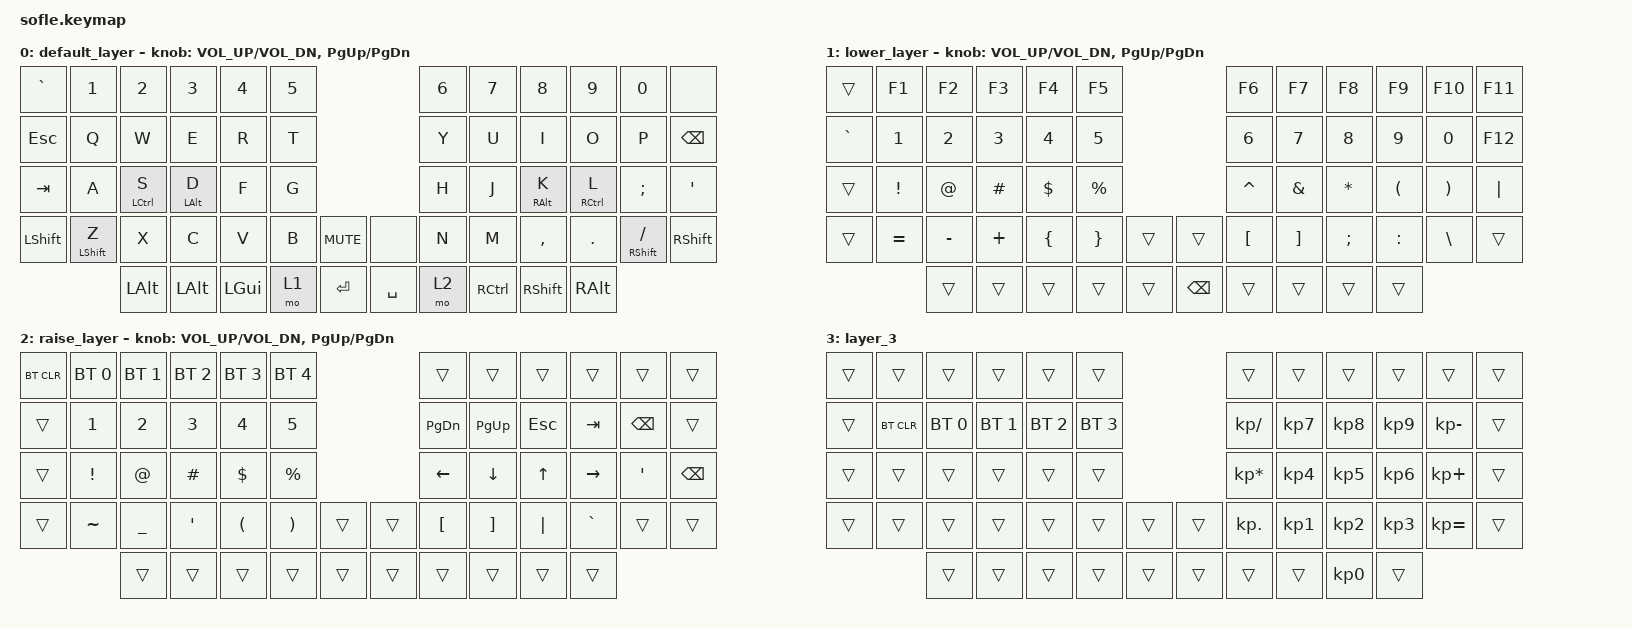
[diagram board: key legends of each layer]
/*
 * Copyright (c) 2020 The ZMK Contributors
 *
 * SPDX-License-Identifier: MIT
 */

#include <behaviors.dtsi>
#include <dt-bindings/zmk/bt.h>
#include <dt-bindings/zmk/keys.h>

/ {
    behaviors {
        hml: homewrow_mods_left {
            compatible = "zmk,behavior-hold-tap";
            label = "HOMEWROW_MODS_LEFT";
            bindings = <&kp>, <&kp>;

            #binding-cells = <2>;
            tapping-term-ms = <125>;
            hold-trigger-key-positions = <43 55 56 57 44 45 58 46 59 47 48 49 35 34 33 32 31 30 18 19 20 21 22 23 11 10 9 8 7 6>;
            flavor = "tap-preferred";
        };

        hmr: homewrow_mods_right {
            compatible = "zmk,behavior-hold-tap";
            label = "HOMEWROW_MODS_RIGHT";
            bindings = <&kp>, <&kp>;

            #binding-cells = <2>;
            tapping-term-ms = <125>;
            hold-trigger-key-positions = <0 1 2 14 12 24 25 26 27 15 3 4 16 28 29 17 5 42 54 53 52 41 40 39 38 51 50 37 36 0 1 2 3 4 5 12 14 15 16 17 24 25 26 27 28 29 36 37 38 39 40 41 42 50 51 52 53 54 0 1 12 14 24 25 26 0 1 2 3 4 5 12 13 14 15 16 17 24 25 26 27 28 29 36 37 38 39 40 41 42 50 51 52 53 54>;
            flavor = "tap-preferred";
        };
    };

    combos {
        compatible = "zmk,combos";

        cmd_shift_del {
            bindings = <&kp LG(LS(DELETE))>;
            key-positions = <53 37 22>;
            timeout-ms = <125>;
        };

        z_command {
            bindings = <&kp LS(LEFT_COMMAND)>;
            key-positions = <37 52>;
            layers = <0>;
        };

        z_question {
            bindings = <&kp QMARK>;
            key-positions = <37 48>;
            layers = <0>;
            timeout-ms = <125>;
        };

        z_enter {
            bindings = <&kp LS(ENTER)>;
            key-positions = <37 54>;
            layers = <0>;
            timeout-ms = <125>;
        };
    };

    keymap {
        compatible = "zmk,keymap";

        default_layer {
            // ------------------------------------------------------------------------------------------------------------
            // |  `    |  1  |  2  |  3   |  4   |  5   |                   |  6   |  7    |  8    |  9   |   0   |       |
            // |  ESC  |  Q  |  W  |  E   |  R   |  T   |                   |  Y   |  U    |  I    |  O   |   P   | BKSPC |
            // |  TAB  |  A  |  S  |  D   |  F   |  G   |                   |  H   |  J    |  K    |  L   |   ;   |   '   |
            // | SHIFT |  Z  |  X  |  C   |  V   |  B   |  MUTE  |  |       |  N   |  M    |  ,    |  .   |   /   | SHIFT |
            //               | GUI | ALT  | CTRL | LOWER|  ENTER |  | SPACE | RAISE| CTRL  | ALT   | GUI  |

            bindings = <
&kp GRAVE  &kp N1             &kp N2        &kp N3           &kp N4    &kp N5                           &kp N6  &kp N7     &kp N8            &kp N9        &kp N0                  &none
&kp ESC    &kp Q              &kp W         &kp E            &kp R     &kp T                            &kp Y   &kp U      &kp I             &kp O         &kp P                   &kp BSPC
&kp TAB    &kp A              &hml LCTRL S  &hml LEFT_ALT D  &kp F     &kp G                            &kp H   &kp J      &hmr RIGHT_ALT K  &hmr RCTRL L  &kp SEMICOLON           &kp SQT
&kp LSHFT  &hml LEFT_SHIFT Z  &kp X         &kp C            &kp V     &kp B   &kp C_MUTE    &none      &kp N   &kp M      &kp COMMA         &kp DOT       &hmr RIGHT_SHIFT SLASH  &kp RSHFT
                              &kp LEFT_ALT  &kp LALT         &kp LGUI  &mo 1   &kp RET       &kp SPACE  &mo 2   &kp RCTRL  &kp RSHFT         &kp RALT
            >;

            sensor-bindings = <&inc_dec_kp C_VOL_UP C_VOL_DN &inc_dec_kp PG_UP PG_DN>;
        };

        lower_layer {
            // TODO: Some binds are waiting for shifted keycode support.
            // ------------------------------------------------------------------------------------------------------------
            // |       |  F1 |  F2 |  F3  |  F4  |  F5  |                   |  F6  |  F7   |  F8   |  F9  |  F10  |  F11  |
            // | `     |   1 |   2 |   3  |   4  |   5  |                   |   6  |   7   |   8   |   9  |    0  |  F12  |
            // |       |  !  |  @  |  #   |  $   |  %   |                   |  ^   |  &    |  *    |  (   |   )   |   |   |
            // |       |  =  |  -  |  +   |  {   |  }   |        |  |       |  [   |  ]    |  ;    |  :   |   \   |       |
            //               |     |      |      |      |        |  |       |      |       |       |      |

            bindings = <
&trans     &kp F1     &kp F2     &kp F3    &kp F4    &kp F5                              &kp F6     &kp F7    &kp F8        &kp F9     &kp F10   &kp F11
&kp GRAVE  &kp N1     &kp N2     &kp N3    &kp N4    &kp N5                              &kp N6     &kp N7    &kp N8        &kp N9     &kp N0    &kp F12
&trans     &kp EXCL   &kp AT     &kp HASH  &kp DLLR  &kp PRCNT                           &kp CARET  &kp AMPS  &kp ASTERISK  &kp LPAR   &kp RPAR  &kp PIPE
&trans     &kp EQUAL  &kp MINUS  &kp PLUS  &kp LBRC  &kp RBRC   &trans    &trans         &kp LBKT   &kp RBKT  &kp SEMI      &kp COLON  &kp BSLH  &trans
                      &trans     &trans    &trans    &trans     &trans    &kp BACKSPACE  &trans     &trans    &trans        &trans
            >;

            sensor-bindings = <&inc_dec_kp C_VOL_UP C_VOL_DN &inc_dec_kp PG_UP PG_DN>;
        };

        raise_layer {
            bindings = <
&bt BT_CLR  &bt BT_SEL 0  &bt BT_SEL 1    &bt BT_SEL 2  &bt BT_SEL 3  &bt BT_SEL 4                    &trans     &trans     &trans    &trans     &trans    &trans
&trans      &kp N1        &kp N2          &kp N3        &kp N4        &kp N5                          &kp PG_DN  &kp PG_UP  &kp ESC   &kp TAB    &kp BSPC  &trans
&trans      &kp EXCL      &kp AT          &kp HASH      &kp DLLR      &kp PERCENT                     &kp LEFT   &kp DOWN   &kp UP    &kp RIGHT  &kp SQT   &kp BSPC
&trans      &kp TILDE     &kp UNDERSCORE  &kp SQT       &kp LPAR      &kp RPAR      &trans    &trans  &kp LBKT   &kp RBKT   &kp PIPE  &kp GRAVE  &trans    &trans
                          &trans          &trans        &trans        &trans        &trans    &trans  &trans     &trans     &trans    &trans
            >;

            sensor-bindings = <&inc_dec_kp C_VOL_UP C_VOL_DN &inc_dec_kp PG_UP PG_DN>;
        };

        layer_3 {
            bindings = <
&trans  &trans      &trans        &trans        &trans        &trans                          &trans           &trans     &trans           &trans           &trans        &trans
&trans  &bt BT_CLR  &bt BT_SEL 0  &bt BT_SEL 1  &bt BT_SEL 2  &bt BT_SEL 3                    &kp KP_DIVIDE    &kp KP_N7  &kp KP_N8        &kp KP_N9        &kp KP_MINUS  &trans
&trans  &trans      &trans        &trans        &trans        &trans                          &kp KP_MULTIPLY  &kp KP_N4  &kp KP_NUMBER_5  &kp KP_N6        &kp KP_PLUS   &trans
&trans  &trans      &trans        &trans        &trans        &trans        &trans    &trans  &kp KP_DOT       &kp KP_N1  &kp KP_N2        &kp KP_NUMBER_3  &kp KP_EQUAL  &trans
                    &trans        &trans        &trans        &trans        &trans    &trans  &trans           &trans     &kp KP_NUMBER_0  &trans
            >;
        };
    };

    conditional_layers {
        compatible = "zmk,conditional-layers";

        layer_3 {
            if-layers = <1 2>;
            then-layer = <3>;
        };
    };
};
